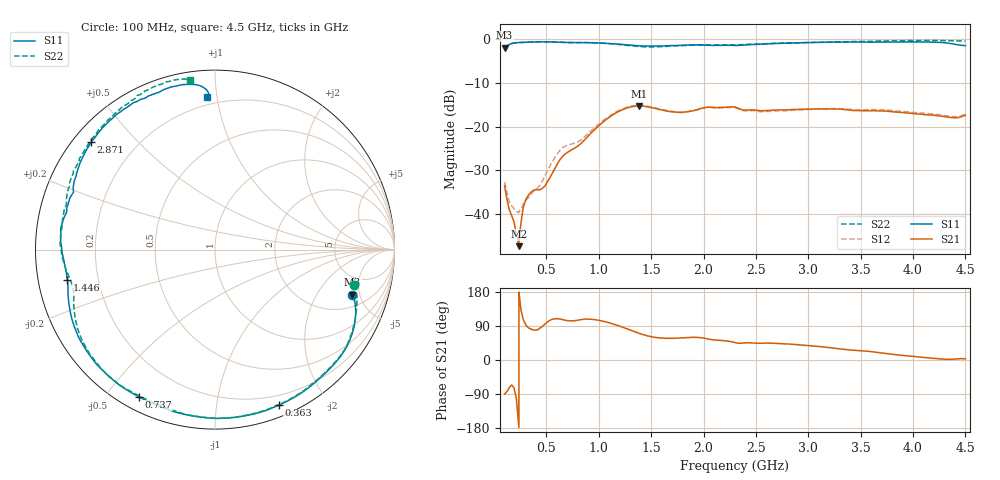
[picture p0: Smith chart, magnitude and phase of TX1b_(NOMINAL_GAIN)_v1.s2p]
! Created Tue Apr 16 20:07:47 2013
# ghz S ma R 50
! 2 Port Network Data from SP1.SP block
! freq  magS11  angS11  magS21  angS21  magS12  angS12  magS22  angS22
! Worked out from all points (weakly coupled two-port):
!   4401 points, 100 MHz to 4.5 GHz, reference 50 ohm
!   highest |S21| = -15.26 dB at 1.38 GHz (marker M1); lowest = -47.4 dB at 234 MHz (marker M2)
!   lowest |S11| = -1.9 dB at 100 MHz (marker M3), VSWR 9.26, Z = 148 - j212 ohm
!   |S11| at or under -10 dB: nowhere
!   |S22| runs from -1.9 to -0.2 dB; largest |S21 - S12| = 0.012
!   S11 on the Smith chart (normalised r, x): 100 MHz: 2.97, -4.24; 363 MHz: 0.10, -1.48; 737 MHz: 0.05, -0.61; 1.446 GHz: 0.09, -0.10; 2.871 GHz: 0.05, +0.37; 4.5 GHz: 0.15, +0.94
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0.1  0.805 -18.2  0.02097 -90.2  0.02315 -93.3  0.7992 -14.2
0.159  0.8901 -29.9  0.01011 -68.3  0.01278 -85.2  0.888 -30.3
0.218  0.9193 -41.9  0.00559 -121.1  0.01059 -128.3  0.9163 -41.5
0.234  0.9211 -45.1  0.004244 -172.4  0.01031 -153.6  0.9179 -44.8
0.293  0.9293 -55.6  0.01355 97.8  0.01365 130.4  0.9263 -55.8
0.363  0.9367 -67.8  0.01814 80.2  0.01738 108.6  0.9344 -67.6
0.458  0.941 -82.8  0.0194 88.2  0.02339 115.9  0.9404 -82.3
0.516  0.9393 -91.3  0.02392 101.7  0.0324 119.2  0.9394 -90.0
0.632  0.9291 -106.1  0.04226 108.0  0.05397 111.0  0.9259 -104.2
0.737  0.9233 -117.4  0.05375 103.3  0.0629 102.0  0.9183 -114.7
0.834  0.9221 -126.9  0.06472 106.8  0.07107 104.6  0.9215 -124.0
1.081  0.9013 -148.0  0.1233 99.5  0.1273 98.3  0.8985 -144.5
1.38  0.8467 -165.5  0.1726 70.9  0.1758 70.3  0.8281 -161.7
1.446  0.839 -168.4  0.1698 65.0  0.1728 64.5  0.8225 -163.9
1.567  0.8395 -173.0  0.1579 58.6  0.1608 57.8  0.8253 -168.0
1.909  0.8671 172.4  0.1527 59.9  0.1523 59.0  0.8631 178.2
2.3  0.8509 158.0  0.1677 46.0  0.1652 45.6  0.8649 163.4
2.871  0.9134 139.0  0.1575 40.9  0.1541 42.6  0.9133 142.6
3.034  0.9227 133.3  0.1591 37.5  0.1576 39.8  0.9233 136.9
3.767  0.932 110.6  0.1495 16.0  0.1545 17.3  0.9637 114.1
4.22  0.9292 97.8  0.1342 3.8  0.1387 4.0  0.9726 103.9
4.5  0.8493 92.9  0.135 3.1  0.1384 2.8  0.9555 98.5
